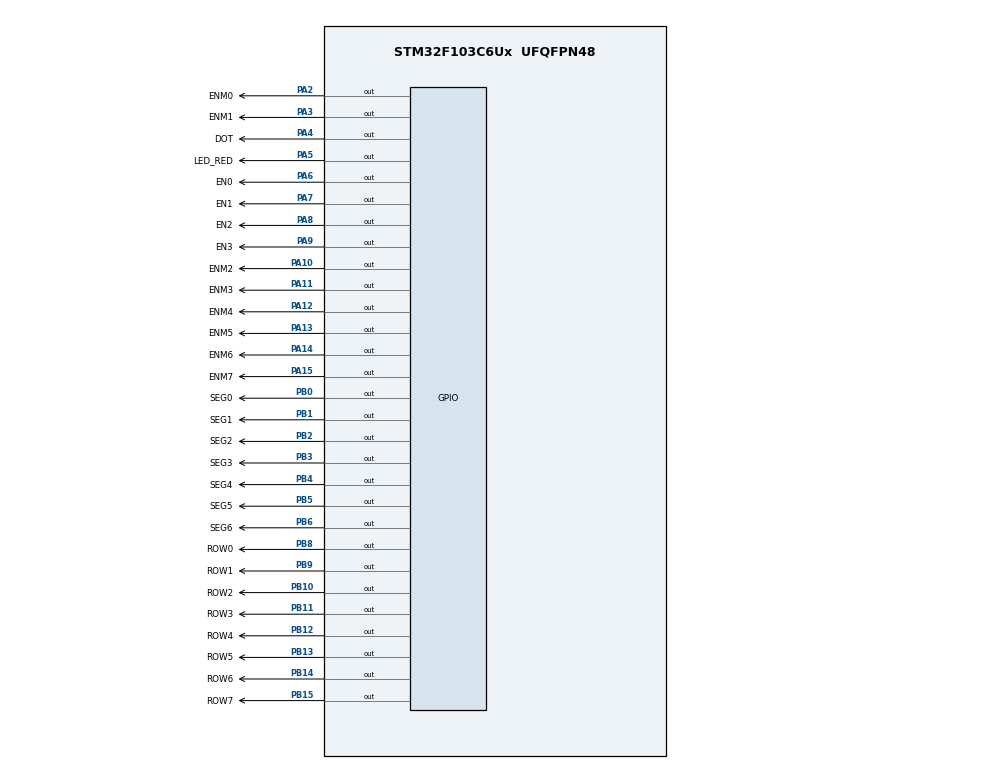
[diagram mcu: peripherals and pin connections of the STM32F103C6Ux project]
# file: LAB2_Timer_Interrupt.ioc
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Mcu.Family=STM32F1
Mcu.Name=STM32F103C6Ux
Mcu.Package=UFQFPN48
NVIC.PriorityGroup=NVIC_PRIORITYGROUP_4
NVIC.TIM2_IRQn=true\:0\:0\:false\:false\:true\:true\:true
PA10.GPIO_Label=ENM2
PA10.Signal=GPIO_Output
PA11.GPIO_Label=ENM3
PA11.Signal=GPIO_Output
PA12.GPIO_Label=ENM4
PA12.Signal=GPIO_Output
PA13.GPIO_Label=ENM5
PA13.Signal=GPIO_Output
PA14.GPIO_Label=ENM6
PA14.Signal=GPIO_Output
PA15.GPIO_Label=ENM7
PA15.Signal=GPIO_Output
PA2.GPIO_Label=ENM0
PA2.Signal=GPIO_Output
PA3.GPIO_Label=ENM1
PA3.Signal=GPIO_Output
PA4.GPIO_Label=DOT
PA4.Signal=GPIO_Output
PA5.GPIO_Label=LED_RED
PA5.Signal=GPIO_Output
PA6.GPIO_Label=EN0
PA6.Signal=GPIO_Output
PA7.GPIO_Label=EN1
PA7.Signal=GPIO_Output
PA8.GPIO_Label=EN2
PA8.Signal=GPIO_Output
PA9.GPIO_Label=EN3
PA9.Signal=GPIO_Output
PB0.GPIO_Label=SEG0
PB0.Signal=GPIO_Output
PB1.GPIO_Label=SEG1
PB1.Signal=GPIO_Output
PB10.GPIO_Label=ROW2
PB10.Signal=GPIO_Output
PB11.GPIO_Label=ROW3
PB11.Signal=GPIO_Output
PB12.GPIO_Label=ROW4
PB12.Signal=GPIO_Output
PB13.GPIO_Label=ROW5
PB13.Signal=GPIO_Output
PB14.GPIO_Label=ROW6
PB14.Signal=GPIO_Output
PB15.GPIO_Label=ROW7
PB15.Signal=GPIO_Output
PB2.GPIO_Label=SEG2
PB2.Signal=GPIO_Output
PB3.GPIO_Label=SEG3
PB3.Signal=GPIO_Output
PB4.GPIO_Label=SEG4
PB4.Signal=GPIO_Output
PB5.GPIO_Label=SEG5
PB5.Signal=GPIO_Output
PB6.GPIO_Label=SEG6
PB6.Signal=GPIO_Output
PB8.GPIO_Label=ROW0
PB8.Signal=GPIO_Output
PB9.GPIO_Label=ROW1
PB9.Signal=GPIO_Output
ProjectManager.HeapSize=0x200
ProjectManager.StackSize=0x400
ProjectManager.TargetToolchain=STM32CubeIDE
RCC.APB1Freq_Value=8000000
RCC.APB2Freq_Value=8000000
TIM2.Period=9
TIM2.Prescaler=7999
VP_SYS_VS_ND.Mode=No_Debug
VP_TIM2_VS_ClockSourceINT.Mode=Internal
board=custom

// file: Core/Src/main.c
/* USER CODE BEGIN Header */
/**
  ******************************************************************************
  * @file           : main.c
  * @brief          : Main program body
  ******************************************************************************
  * @attention
  *
  * <h2><center>&copy; Copyright (c) 2024 STMicroelectronics.
  * All rights reserved.</center></h2>
  *
  * This software component is licensed by ST under BSD 3-Clause license,
  * the "License"; You may not use this file except in compliance with the
  * License. You may obtain a copy of the License at:
  *                        opensource.org/licenses/BSD-3-Clause
  *
  ******************************************************************************
  */
/* USER CODE END Header */
#include "main.h"

/* USER CODE BEGIN Includes */
#include "global.h"
#include "softwareTimer.h"
#include "digitalClock.h"
#include "clockBuffer.h"
#include "control7SEG_LED.h"
#include "controlMatrix.h"

/* USER CODE END Includes */

TIM_HandleTypeDef htim2;

void SystemClock_Config(void);
static void MX_TIM2_Init(void);
static void MX_GPIO_Init(void);

int main(void)
{

  /* MCU Configuration--------------------------------------------------------*/

  /* Reset of all peripherals, Initializes the Flash interface and the Systick. */
  HAL_Init();

  /* Configure the system clock */
  SystemClock_Config();

  /* Initialize all configured peripherals */
  MX_TIM2_Init();
  MX_GPIO_Init();
  /* USER CODE BEGIN 2 */
  HAL_TIM_Base_Start_IT(&htim2);
  /* USER CODE END 2 */

  /* Infinite loop */
  /* USER CODE BEGIN WHILE */
  setTimer0(10);
    setTimer1(10);
    setTimer2(10);
    setTimer3(10);
    setTimer4(10);
    while (1)
    {
      /* USER CODE END WHILE */
      /* USER CODE BEGIN 3 */
      if(timer4_flag == 1)
      {
		  updateMatrix_buffer();
		  setTimer4(100);
      }
  	  if(timer3_flag == 1)
  	  {
  		  updateLEDMatrix(index_led_matrix++);
  		  if(index_led_matrix == MAX_LED_MATRIX)
  		  {
  			  index_led_matrix = 0;
  		  }
  		  setTimer3(10);
  	  }
  	  if(timer2_flag == 1)
  	  {
  		  update7SEG(index_led++);
  		  if(index_led == MAX_LED)
  		  {
  			  index_led = 0;
  		  }
  		  setTimer2(250);
  	  }
  	  if(timer1_flag == 1)
  	  {
  		  HAL_GPIO_TogglePin(DOT_GPIO_Port, DOT_Pin);
  		  digitalClock();
  		  updateClockBuffer();
  		  setTimer1(1000);
  	  }
  	  if(timer0_flag == 1)
  	  {
  		  HAL_GPIO_TogglePin(LED_RED_GPIO_Port, LED_RED_Pin);
  		  setTimer0(2000);
  	  }
  }
  /* USER CODE END 3 */
}

void SystemClock_Config(void)
{
  RCC_OscInitTypeDef RCC_OscInitStruct = {0};
  RCC_ClkInitTypeDef RCC_ClkInitStruct = {0};

  /** Initializes the RCC Oscillators according to the specified parameters
  * in the RCC_OscInitTypeDef structure.
  */
  RCC_OscInitStruct.OscillatorType = RCC_OSCILLATORTYPE_HSI;
  RCC_OscInitStruct.HSIState = RCC_HSI_ON;
  RCC_OscInitStruct.HSICalibrationValue = RCC_HSICALIBRATION_DEFAULT;
  RCC_OscInitStruct.PLL.PLLState = RCC_PLL_NONE;
  if (HAL_RCC_OscConfig(&RCC_OscInitStruct) != HAL_OK)
  {
    Error_Handler();
  }
  /** Initializes the CPU, AHB and APB buses clocks
  */
  RCC_ClkInitStruct.ClockType = RCC_CLOCKTYPE_HCLK|RCC_CLOCKTYPE_SYSCLK
                              |RCC_CLOCKTYPE_PCLK1|RCC_CLOCKTYPE_PCLK2;
  RCC_ClkInitStruct.SYSCLKSource = RCC_SYSCLKSOURCE_HSI;
  RCC_ClkInitStruct.AHBCLKDivider = RCC_SYSCLK_DIV1;
  RCC_ClkInitStruct.APB1CLKDivider = RCC_HCLK_DIV1;
  RCC_ClkInitStruct.APB2CLKDivider = RCC_HCLK_DIV1;

  if (HAL_RCC_ClockConfig(&RCC_ClkInitStruct, FLASH_LATENCY_0) != HAL_OK)
  {
    Error_Handler();
  }
}

static void MX_TIM2_Init(void)
{

  TIM_ClockConfigTypeDef sClockSourceConfig = {0};
  TIM_MasterConfigTypeDef sMasterConfig = {0};

  htim2.Instance = TIM2;
  htim2.Init.Prescaler = 7999;
  htim2.Init.CounterMode = TIM_COUNTERMODE_UP;
  htim2.Init.Period = 9;
  htim2.Init.ClockDivision = TIM_CLOCKDIVISION_DIV1;
  htim2.Init.AutoReloadPreload = TIM_AUTORELOAD_PRELOAD_DISABLE;
  if (HAL_TIM_Base_Init(&htim2) != HAL_OK)
  {
    Error_Handler();
  }
  sClockSourceConfig.ClockSource = TIM_CLOCKSOURCE_INTERNAL;
  if (HAL_TIM_ConfigClockSource(&htim2, &sClockSourceConfig) != HAL_OK)
  {
    Error_Handler();
  }
  sMasterConfig.MasterOutputTrigger = TIM_TRGO_RESET;
  sMasterConfig.MasterSlaveMode = TIM_MASTERSLAVEMODE_DISABLE;
  if (HAL_TIMEx_MasterConfigSynchronization(&htim2, &sMasterConfig) != HAL_OK)
  {
    Error_Handler();
  }

}

static void MX_GPIO_Init(void)
{
  GPIO_InitTypeDef GPIO_InitStruct = {0};

  /* GPIO Ports Clock Enable */
  __HAL_RCC_GPIOA_CLK_ENABLE();
  __HAL_RCC_GPIOB_CLK_ENABLE();

  /*Configure GPIO pin Output Level */
  HAL_GPIO_WritePin(GPIOA, ENM0_Pin|ENM1_Pin|DOT_Pin|LED_RED_Pin
                          |EN0_Pin|EN1_Pin|EN2_Pin|EN3_Pin
                          |ENM2_Pin|ENM3_Pin|ENM4_Pin|ENM5_Pin
                          |ENM6_Pin|ENM7_Pin, GPIO_PIN_SET);

  /*Configure GPIO pin Output Level */
  HAL_GPIO_WritePin(GPIOB, SEG0_Pin|SEG1_Pin|SEG2_Pin|ROW2_Pin
                          |ROW3_Pin|ROW4_Pin|ROW5_Pin|ROW6_Pin
                          |ROW7_Pin|SEG3_Pin|SEG4_Pin|SEG5_Pin
                          |SEG6_Pin|ROW0_Pin|ROW1_Pin, GPIO_PIN_SET);

  /*Configure GPIO pins : ENM0_Pin ENM1_Pin DOT_Pin LED_RED_Pin
                           EN0_Pin EN1_Pin EN2_Pin EN3_Pin
                           ENM2_Pin ENM3_Pin ENM4_Pin ENM5_Pin
                           ENM6_Pin ENM7_Pin */
  GPIO_InitStruct.Pin = ENM0_Pin|ENM1_Pin|DOT_Pin|LED_RED_Pin
                          |EN0_Pin|EN1_Pin|EN2_Pin|EN3_Pin
                          |ENM2_Pin|ENM3_Pin|ENM4_Pin|ENM5_Pin
                          |ENM6_Pin|ENM7_Pin;
  GPIO_InitStruct.Mode = GPIO_MODE_OUTPUT_PP;
  GPIO_InitStruct.Pull = GPIO_NOPULL;
  GPIO_InitStruct.Speed = GPIO_SPEED_FREQ_LOW;
  HAL_GPIO_Init(GPIOA, &GPIO_InitStruct);

  /*Configure GPIO pins : SEG0_Pin SEG1_Pin SEG2_Pin ROW2_Pin
                           ROW3_Pin ROW4_Pin ROW5_Pin ROW6_Pin
                           ROW7_Pin SEG3_Pin SEG4_Pin SEG5_Pin
                           SEG6_Pin ROW0_Pin ROW1_Pin */
  GPIO_InitStruct.Pin = SEG0_Pin|SEG1_Pin|SEG2_Pin|ROW2_Pin
                          |ROW3_Pin|ROW4_Pin|ROW5_Pin|ROW6_Pin
                          |ROW7_Pin|SEG3_Pin|SEG4_Pin|SEG5_Pin
                          |SEG6_Pin|ROW0_Pin|ROW1_Pin;
  GPIO_InitStruct.Mode = GPIO_MODE_OUTPUT_PP;
  GPIO_InitStruct.Pull = GPIO_NOPULL;
  GPIO_InitStruct.Speed = GPIO_SPEED_FREQ_LOW;
  HAL_GPIO_Init(GPIOB, &GPIO_InitStruct);

}

/* USER CODE BEGIN 4 */
void HAL_TIM_PeriodElapsedCallback (TIM_HandleTypeDef * htim )
{
		timer_run();
}
/* USER CODE END 4 */

void Error_Handler(void)
{
  __disable_irq();
  while (1)
  {
  }
}

/************************ (C) COPYRIGHT STMicroelectronics *****END OF FILE****/
